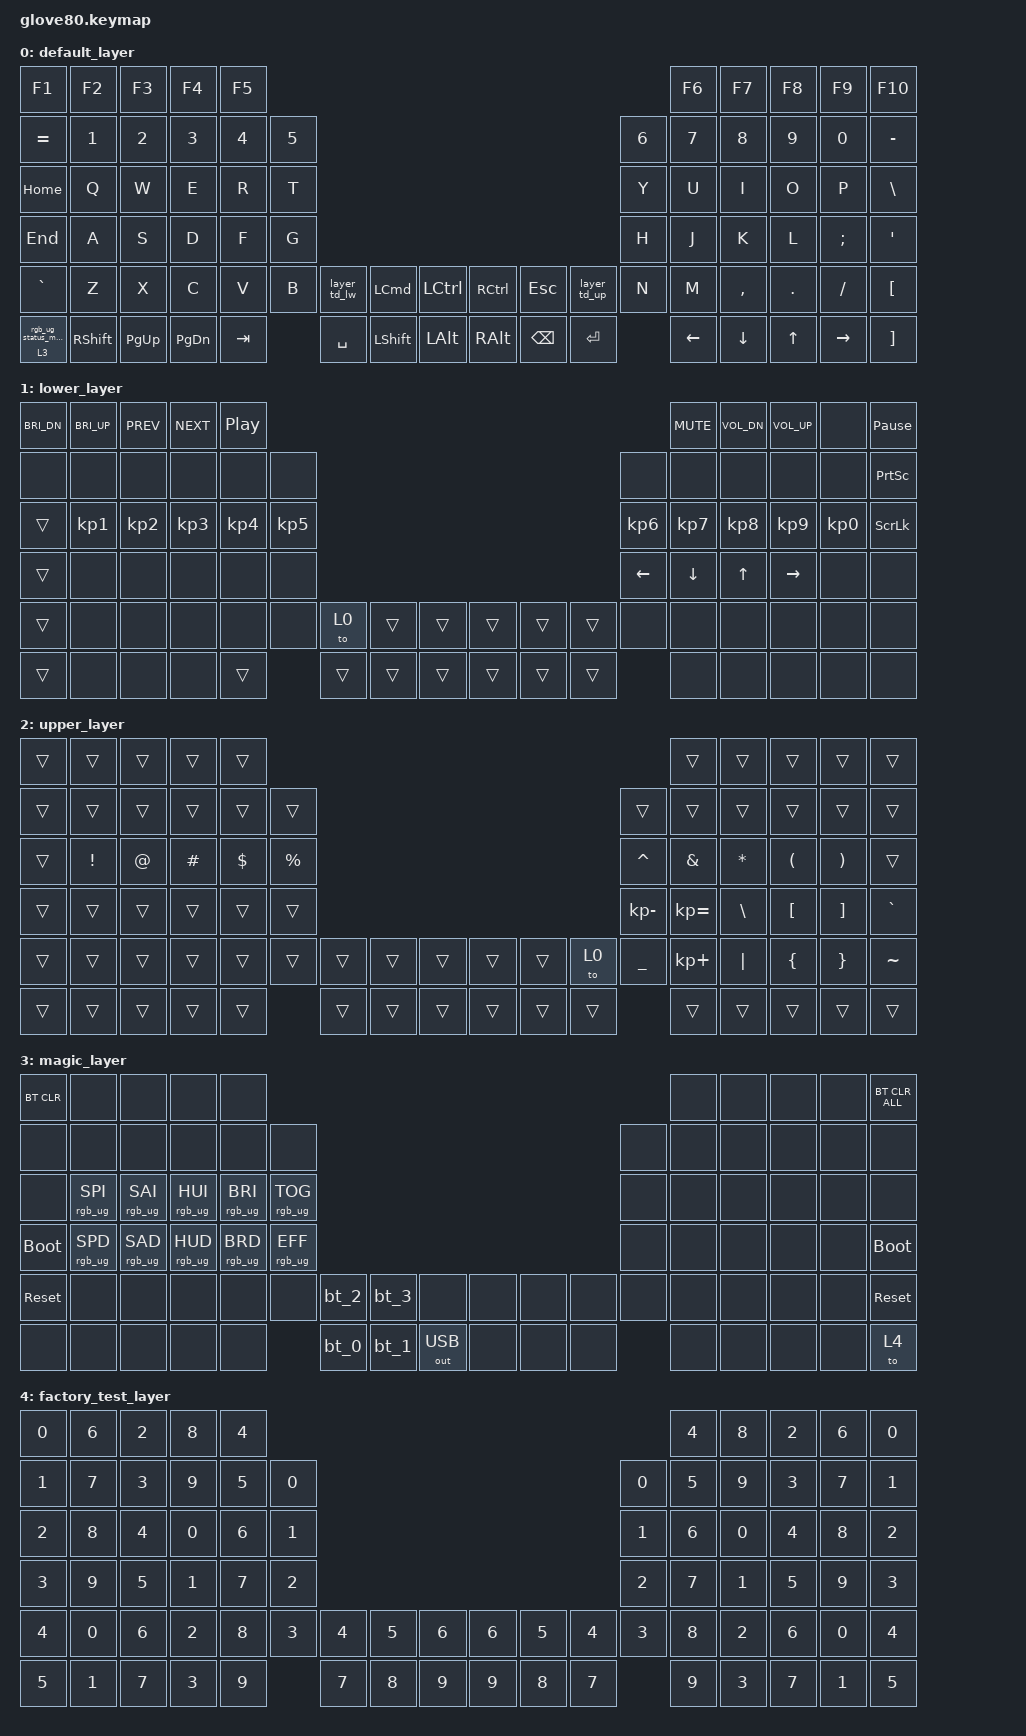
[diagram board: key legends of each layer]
/*
 * Copyright (c) 2020 The ZMK Contributors
 *
 * SPDX-License-Identifier: MIT
 */

#include <behaviors.dtsi>
#include <dt-bindings/zmk/bt.h>
#include <dt-bindings/zmk/keys.h>
#include <dt-bindings/zmk/outputs.h>
#include <dt-bindings/zmk/rgb.h>

#define HYPER LC(LS(LG(LALT)))

// layers

#define DEFAULT 0
#define LOWER 1
#define MAGIC 2
#define FACTORY_TEST 3

/ {
    behaviors {
        // For the "layer" key, it'd nice to be able to use it as either a shift or a toggle.
        // Configure it as a tap dance, so the first tap (or hold) is a &mo and the second tap is a &to

        layer_td_lw: tap_dance_0 {
            compatible = "zmk,behavior-tap-dance";
            label = "LAYER_TAP_DANCE_LW";
            #binding-cells = <0>;
            tapping-term-ms = <200>;
            bindings = <&mo 1>, <&to 1>;
        };

        magic: magic_hold_tap {
            compatible = "zmk,behavior-hold-tap";
            label = "MAGIC_HOLD_TAP";
            #binding-cells = <2>;
            flavor = "tap-preferred";
            tapping-term-ms = <200>;
            bindings = <&mo>, <&rgb_ug_status_macro>;
        };

        layer_td_up: tap_dance_1 {
            compatible = "zmk,behavior-tap-dance";
            label = "LAYER_TAP_DANCE_UP";
            #binding-cells = <0>;
            tapping-term-ms = <200>;
            bindings = <&mo 2>, <&to 2>;
        };
    };

    macros {
        rgb_ug_status_macro: rgb_ug_status_macro_0 {
            label = "RGB_UG_STATUS";
            compatible = "zmk,behavior-macro";
            #binding-cells = <0>;
            bindings = <&rgb_ug RGB_STATUS>;
        };

        bt_0: bt_profile_macro_0 {
            label = "BT_0";
            compatible = "zmk,behavior-macro";
            #binding-cells = <0>;
            bindings = <&out OUT_BLE &bt BT_SEL 0>;
        };

        bt_1: bt_profile_macro_1 {
            label = "BT_1";
            compatible = "zmk,behavior-macro";
            #binding-cells = <0>;
            bindings = <&out OUT_BLE &bt BT_SEL 1>;
        };

        bt_2: bt_profile_macro_2 {
            label = "BT_2";
            compatible = "zmk,behavior-macro";
            #binding-cells = <0>;
            bindings = <&out OUT_BLE &bt BT_SEL 2>;
        };

        bt_3: bt_profile_macro_3 {
            label = "BT_3";
            compatible = "zmk,behavior-macro";
            #binding-cells = <0>;
            bindings = <&out OUT_BLE &bt BT_SEL 3>;
        };
    };

    keymap {
        compatible = "zmk,keymap";

        default_layer {
            // ---------------------------------------------------------------------------------------------------------------------------------
            // |  F1   |  F2 |  F3 |  F4  |  F5  |                                                               |  F6   |  F7   |  F8  |   F9  |  F10 |
            // |  =    |  1  |  2  |  3   |  4   |  5   |                                                 |  6   |   7   |   8   |  9   |   0   |   -  |
            // |  TAB  |  Q  |  W  |  E   |  R   |  T   |                                                 |  Y   |   U   |   I   |  O   |   P   |   \  |
            // |  ESC  |  A  |  S  |  D   |  F   |  G   |                                                 |  H   |   J   |   K   |  L   |   ;   |   '  |
            // |   `   |  Z  |  X  |  C   |  V   |  B   | LSHFT | LCTRL | LOWER | | LGUI  | RCTRL | RSHFT |  N   |   M   |   ,   |  .   |   /   | PGUP |
            // | MAGIC | HOME| END | LEFT | RIGHT|      | BSPC  | DEL   | LALT  | | RALT  | RET   | SPACE |      |  UP   | DOWN  |  [   |   ]   | PGDN |

            bindings = <
&kp F1      &kp F2           &kp F3     &kp F4     &kp F5                                                                                                                     &kp F6    &kp F7     &kp F8   &kp F9     &kp F10
&kp EQUAL   &kp N1           &kp N2     &kp N3     &kp N4   &kp N5                                                                                                    &kp N6  &kp N7    &kp N8     &kp N9   &kp N0     &kp MINUS
&kp HOME    &kp Q            &kp W      &kp E      &kp R    &kp T                                                                                                     &kp Y   &kp U     &kp I      &kp O    &kp P      &kp BSLH
&kp END     &kp A            &kp S      &kp D      &kp F    &kp G                                                                                                     &kp H   &kp J     &kp K      &kp L    &kp SEMI   &kp SQT
&kp GRAVE   &kp Z            &kp X      &kp C      &kp V    &kp B   &layer_td_lw  &kp LEFT_COMMAND  &kp LEFT_CONTROL  &kp RIGHT_CONTROL  &kp ESC        &layer_td_up  &kp N   &kp M     &kp COMMA  &kp DOT  &kp FSLH   &kp LEFT_BRACKET
&magic 3 0  &kp RIGHT_SHIFT  &kp PG_UP  &kp PG_DN  &kp TAB          &kp SPACE     &kp LEFT_SHIFT    &kp LEFT_ALT      &kp RALT           &kp BACKSPACE  &kp ENTER             &kp LEFT  &kp DOWN   &kp UP   &kp RIGHT  &kp RIGHT_BRACKET
            >;
        };

        lower_layer {
            bindings = <
&kp C_BRI_DN  &kp C_BRI_UP     &kp C_PREV       &kp C_NEXT       &kp C_PP                                                                                           &kp C_MUTE       &kp C_VOL_DN     &kp C_VOL_UP     &none            &kp PAUSE_BREAK
&none         &none            &none            &none            &none            &none                                                            &none            &none            &none            &none            &none            &kp PSCRN
&trans        &kp KP_NUMBER_1  &kp KP_NUMBER_2  &kp KP_NUMBER_3  &kp KP_NUMBER_4  &kp KP_NUMBER_5                                                  &kp KP_NUMBER_6  &kp KP_NUMBER_7  &kp KP_NUMBER_8  &kp KP_NUMBER_9  &kp KP_NUMBER_0  &kp SLCK
&trans        &none            &none            &none            &none            &none                                                            &kp LEFT         &kp DOWN         &kp UP           &kp RIGHT        &none            &none
&trans        &none            &none            &none            &none            &none            &to 0   &trans  &trans  &trans  &trans  &trans  &none            &none            &none            &none            &none            &none
&trans        &none            &none            &none            &trans                            &trans  &trans  &trans  &trans  &trans  &trans                   &none            &none            &none            &none            &none
            >;
        };

        upper_layer {
            bindings = <
&trans  &trans           &trans       &trans     &trans                                                                                   &trans         &trans     &trans                &trans                 &trans
&trans  &trans           &trans       &trans     &trans      &trans                                                       &trans          &trans         &trans     &trans                &trans                 &trans
&trans  &kp EXCLAMATION  &kp AT_SIGN  &kp POUND  &kp DOLLAR  &kp PERCENT                                                  &kp CARET       &kp AMPERSAND  &kp ASTRK  &kp LEFT_PARENTHESIS  &kp RIGHT_PARENTHESIS  &trans
&trans  &trans           &trans       &trans     &trans      &trans                                                       &kp KP_MINUS    &kp KP_EQUAL   &kp BSLH   &kp LEFT_BRACKET      &kp RIGHT_BRACKET      &kp GRAVE
&trans  &trans           &trans       &trans     &trans      &trans       &trans  &trans  &trans  &trans  &trans  &to 0   &kp UNDERSCORE  &kp KP_PLUS    &kp PIPE   &kp LEFT_BRACE        &kp RIGHT_BRACE        &kp TILDE
&trans  &trans           &trans       &trans     &trans                   &trans  &trans  &trans  &trans  &trans  &trans                  &trans         &trans     &trans                &trans                 &trans
            >;
        };

        magic_layer {
            bindings = <
&bt BT_CLR   &none            &none            &none            &none                                                                                     &none  &none  &none  &none  &bt BT_CLR_ALL
&none        &none            &none            &none            &none            &none                                                             &none  &none  &none  &none  &none  &none
&none        &rgb_ug RGB_SPI  &rgb_ug RGB_SAI  &rgb_ug RGB_HUI  &rgb_ug RGB_BRI  &rgb_ug RGB_TOG                                                   &none  &none  &none  &none  &none  &none
&bootloader  &rgb_ug RGB_SPD  &rgb_ug RGB_SAD  &rgb_ug RGB_HUD  &rgb_ug RGB_BRD  &rgb_ug RGB_EFF                                                   &none  &none  &none  &none  &none  &bootloader
&sys_reset   &none            &none            &none            &none            &none            &bt_2  &bt_3  &none         &none  &none  &none  &none  &none  &none  &none  &none  &sys_reset
&none        &none            &none            &none            &none                             &bt_0  &bt_1  &out OUT_USB  &none  &none  &none         &none  &none  &none  &none  &to 4
            >;
        };

        factory_test_layer {
            bindings = <
&kp N0  &kp N6  &kp N2  &kp N8  &kp N4                                                                  &kp N4  &kp N8  &kp N2  &kp N6  &kp N0
&kp N1  &kp N7  &kp N3  &kp N9  &kp N5  &kp N0                                                  &kp N0  &kp N5  &kp N9  &kp N3  &kp N7  &kp N1
&kp N2  &kp N8  &kp N4  &kp N0  &kp N6  &kp N1                                                  &kp N1  &kp N6  &kp N0  &kp N4  &kp N8  &kp N2
&kp N3  &kp N9  &kp N5  &kp N1  &kp N7  &kp N2                                                  &kp N2  &kp N7  &kp N1  &kp N5  &kp N9  &kp N3
&kp N4  &kp N0  &kp N6  &kp N2  &kp N8  &kp N3  &kp N4  &kp N5  &kp N6  &kp N6  &kp N5  &kp N4  &kp N3  &kp N8  &kp N2  &kp N6  &kp N0  &kp N4
&kp N5  &kp N1  &kp N7  &kp N3  &kp N9          &kp N7  &kp N8  &kp N9  &kp N9  &kp N8  &kp N7          &kp N9  &kp N3  &kp N7  &kp N1  &kp N5
            >;
        };
    };
};
